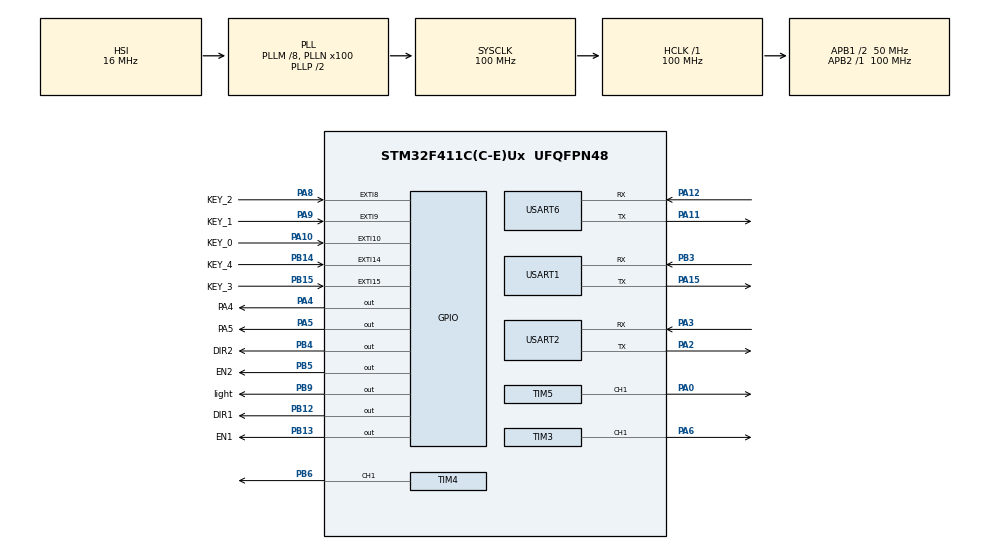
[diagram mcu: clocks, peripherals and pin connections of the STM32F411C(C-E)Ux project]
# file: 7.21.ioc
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Dma.Request0=USART2_RX
Dma.USART2_RX.0.Direction=DMA_PERIPH_TO_MEMORY
Dma.USART2_RX.0.FIFOMode=DMA_FIFOMODE_DISABLE
Dma.USART2_RX.0.Instance=DMA1_Stream5
Dma.USART2_RX.0.MemDataAlignment=DMA_MDATAALIGN_BYTE
Dma.USART2_RX.0.MemInc=DMA_MINC_ENABLE
Dma.USART2_RX.0.Mode=DMA_NORMAL
Dma.USART2_RX.0.PeriphDataAlignment=DMA_PDATAALIGN_BYTE
Dma.USART2_RX.0.PeriphInc=DMA_PINC_DISABLE
Dma.USART2_RX.0.Priority=DMA_PRIORITY_LOW
Mcu.Family=STM32F4
Mcu.Name=STM32F411C(C-E)Ux
Mcu.Package=UFQFPN48
NVIC.DMA1_Stream5_IRQn=true\:0\:0\:false\:false\:true\:false\:true\:true
NVIC.PriorityGroup=NVIC_PRIORITYGROUP_4
NVIC.TIM2_IRQn=true\:0\:0\:false\:false\:true\:true\:true\:true
NVIC.USART1_IRQn=true\:0\:0\:false\:false\:true\:true\:true\:true
NVIC.USART2_IRQn=true\:0\:0\:false\:false\:true\:true\:true\:true
NVIC.USART6_IRQn=true\:0\:0\:false\:false\:true\:true\:true\:true
PA0-WKUP.Signal=S_TIM5_CH1
PA10.GPIO_Label=KEY_0
PA10.GPIO_PuPd=GPIO_PULLDOWN
PA10.Signal=GPXTI10
PA11.Mode=Asynchronous
PA11.Signal=USART6_TX
PA12.Mode=Asynchronous
PA12.Signal=USART6_RX
PA13.Mode=Serial_Wire
PA13.Signal=SYS_JTMS-SWDIO
PA14.Mode=Serial_Wire
PA14.Signal=SYS_JTCK-SWCLK
PA15.Mode=Asynchronous
PA15.Signal=USART1_TX
PA2.Mode=Asynchronous
PA2.Signal=USART2_TX
PA3.Mode=Asynchronous
PA3.Signal=USART2_RX
PA4.GPIO_Label=PA4
PA4.Signal=GPIO_Output
PA5.GPIO_Label=PA5
PA5.Signal=GPIO_Output
PA6.Signal=S_TIM3_CH1
PA8.GPIO_Label=KEY_2
PA8.GPIO_PuPd=GPIO_PULLDOWN
PA8.Signal=GPXTI8
PA9.GPIO_Label=KEY_1
PA9.GPIO_PuPd=GPIO_PULLDOWN
PA9.Signal=GPXTI9
PB12.GPIO_Label=DIR1
PB12.GPIO_PuPd=GPIO_PULLUP
PB12.Signal=GPIO_Output
PB13.GPIO_Label=EN1
PB13.GPIO_PuPd=GPIO_PULLUP
PB13.Signal=GPIO_Output
PB14.GPIO_Label=KEY_4
PB14.GPIO_PuPd=GPIO_PULLDOWN
PB14.Signal=GPXTI14
PB15.GPIO_Label=KEY_3
PB15.GPIO_PuPd=GPIO_PULLDOWN
PB15.Signal=GPXTI15
PB3.Mode=Asynchronous
PB3.Signal=USART1_RX
PB4.GPIO_Label=DIR2
PB4.GPIO_PuPd=GPIO_PULLUP
PB4.Signal=GPIO_Output
PB5.GPIO_Label=EN2
PB5.GPIO_PuPd=GPIO_PULLUP
PB5.Signal=GPIO_Output
PB6.Signal=S_TIM4_CH1
PB9.GPIO_Label=light
PB9.GPIO_PuPd=GPIO_PULLDOWN
PB9.GPIO_Speed=GPIO_SPEED_FREQ_LOW
PB9.PinState=GPIO_PIN_RESET
PB9.Signal=GPIO_Output
PH0\ -\ OSC_IN.Mode=HSE-External-Oscillator
PH0\ -\ OSC_IN.Signal=RCC_OSC_IN
PH1\ -\ OSC_OUT.Mode=HSE-External-Oscillator
PH1\ -\ OSC_OUT.Signal=RCC_OSC_OUT
ProjectManager.HeapSize=0x200
ProjectManager.StackSize=0x400
ProjectManager.TargetToolchain=MDK-ARM V5.32
RCC.48MHZClocksFreq_Value=50000000
RCC.AHBFreq_Value=100000000
RCC.APB1CLKDivider=RCC_HCLK_DIV2
RCC.APB1Freq_Value=50000000
RCC.APB1TimFreq_Value=100000000
RCC.APB2Freq_Value=100000000
RCC.APB2TimFreq_Value=100000000
RCC.CortexFreq_Value=100000000
RCC.HCLKFreq_Value=100000000
RCC.HSE_VALUE=25000000
RCC.HSI_VALUE=16000000
RCC.LSE_VALUE=32768
RCC.PLLM=8
RCC.PLLN=100
RCC.SYSCLKFreq_VALUE=100000000
RCC.SYSCLKSource=RCC_SYSCLKSOURCE_PLLCLK
RCC.VCOOutputFreq_Value=200000000
SH.S_TIM3_CH1.0=TIM3_CH1,PWM Generation1 CH1
SH.S_TIM4_CH1.0=TIM4_CH1,PWM Generation1 CH1
SH.S_TIM5_CH1.0=TIM5_CH1,PWM Generation1 CH1
TIM2.Period=9999
TIM2.Prescaler=9
TIM3.Channel-PWM\ Generation1\ CH1=TIM_CHANNEL_1
TIM3.Period=20000-1
TIM3.Prescaler=99
TIM4.Channel-PWM\ Generation1\ CH1=TIM_CHANNEL_1
TIM4.Period=20000-1
TIM4.Prescaler=99
TIM5.Channel-PWM\ Generation1\ CH1=TIM_CHANNEL_1
TIM5.Period=20000-1
TIM5.Prescaler=99
USART1.VirtualMode=VM_ASYNC
USART2.VirtualMode=VM_ASYNC
USART6.VirtualMode=VM_ASYNC
VP_TIM2_VS_ClockSourceINT.Mode=Internal
VP_TIM3_VS_ClockSourceINT.Mode=Internal
VP_TIM4_VS_ClockSourceINT.Mode=Internal
VP_TIM5_VS_ClockSourceINT.Mode=Internal
board=custom

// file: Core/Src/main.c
/* USER CODE BEGIN Header */
/**
  ******************************************************************************
  * @file           : main.c
  * @brief          : Main program body
  ******************************************************************************
  * @attention
  *
  * Copyright (c) 2025 STMicroelectronics.
  * All rights reserved.
  *
  * This software is licensed under terms that can be found in the LICENSE file
  * in the root directory of this software component.
  * If no LICENSE file comes with this software, it is provided AS-IS.
  *
  ******************************************************************************
  */
/* USER CODE END Header */
#include "main.h"
#include "dma.h"
#include "tim.h"
#include "usart.h"
#include "gpio.h"

/* USER CODE BEGIN Includes */
#include "Stepper_Motor.h"
#include "Delay.h"
#include "yuntai.h"
#include "oled.h"
#include "Bujin.h"
#include "usart_1.h"
#include "serial_it_config.h"
extern int rx_flag;
extern uint8_t rx_buffer[RX_BUFFER_SIZE];
/* USER CODE END Includes */

/* USER CODE BEGIN PTD */
void HAL_UART_RxCpltCallback(UART_HandleTypeDef *huart)

{
    if(huart->Instance == USART1)
    {
        UART1_RxCpltCallback(huart);
    }
    else if(huart->Instance == USART2)
    {
        UART2_RxCpltCallback(huart);
				rx_flag = 1;

    }
    else if(huart->Instance == USART6)
    {
        UART3_RxCpltCallback(huart);
    }
}
void HAL_UARTEx_RxEventCallback(UART_HandleTypeDef *huart,uint16_t Size)
{
	 if (huart->Instance == USART2)  // 判断是否是USART2
    {
			OLED_Printf(0,32,OLED_8X16,"recieve:%c,%c,%c,%c,%c",rx_buffer[0],rx_buffer[1],rx_buffer[2],rx_buffer[3],rx_buffer[4]);
			HAL_UARTEx_ReceiveToIdle_DMA(&huart2,rx_buffer,sizeof(rx_buffer));
		}
}

/* USER CODE END PTD */

/* USER CODE BEGIN PV */
extern int current_x;
extern int current_y;
extern float distance;
int count=0;

/* USER CODE END PV */

void SystemClock_Config(void);

int main(void)
{

  /* USER CODE BEGIN 1 */
	extern int flag;
  /* USER CODE END 1 */

  /* MCU Configuration--------------------------------------------------------*/

  /* Reset of all peripherals, Initializes the Flash interface and the Systick. */
  HAL_Init();

  /* Configure the system clock */
  SystemClock_Config();

  /* Initialize all configured peripherals */
  MX_GPIO_Init();
  MX_DMA_Init();
  MX_TIM3_Init();
  MX_USART1_UART_Init();
  MX_USART2_UART_Init();
  MX_USART6_UART_Init();
  MX_TIM2_Init();
  MX_TIM4_Init();
  MX_TIM5_Init();
  /* USER CODE BEGIN 2 */
	OLED_Init();
	USART_IT_Config();
	Stepper_Motor_Init();
	Stepper_Control_Init();
//	HAL_GPIO_WritePin(GPIOB,light_Pin,0);
//	__HAL_UART_ENABLE_IT(&huart2, UART_IT_IDLE);
	UART2_Start_RX_DMA();
//	delay_ms(1000);
	HAL_TIM_Base_Start_IT(&htim2);

//	test();

//	Speed_bujin();
//	uint8_t usart_sent2[11];
//	StepperMotor motor3 = {
//			.address = 0x02,
//			.huart = &huart6, // 替换为你的 UART 句柄
//			.mode = ABS_ANGLE_CTRL,
//			.subdivision = 0x20, // 32 细分
//			.speed_rads_x10 = 0x000A, // 10 rad/s (0x0064 = 100)
//	};
//	BuildPositionControlFrame(&motor3, 400, CW, usart_sent2);
//	USART_SendArray(usart_sent2,sizeof(usart_sent2));
//	sanjiao();

//	delay_ms(2000);
//	BuildPositionControlFrame(&motor2, 900, CW, usart_sent2); // 100.0° 逆时针
//	USART_SendArray(usart_sent2,sizeof(usart_sent2));
//	BuildPositionControlFrame(&motor1, 900, CW, usart_sent1); // 100.0° 逆时针
//	delay_ms(10);
//	USART_SendArray(usart_sent1,sizeof(usart_sent1));

  /* USER CODE END 2 */

  /* Infinite loop */
  while (1)
  {
		OLED_Printf(0,16,OLED_8X16,"count:%d",count);
		count++;
    /* USER CODE BEGIN 3 */
		OLED_Update();
//		Stepper_Control(320,240);

//		if(flag==1)
//		{
//			for(int i=0;i<200;i++)
//			{
//				Stepper_Control(320-distance,100+i*2);
//				delay_ms(20);
//			}
//		}

//		DrawRectangle(460, 150, 220, 300, 200);
//		DrawPrecisionRectangle(200, 150, 400, 350);
//		DrawCircle(320, 240, 100, 500);

//		Stepper_Control_UntilReached(320,240);

//		Stepper_Control_UntilReached(200,100);
//		Stepper_Control_UntilReached(400,100);
//		Stepper_Control_UntilReached(400,200);
//		Stepper_Control_UntilReached(200,200);
//

//		    Motor_Move_B(0,1);	 //B是竖直
//				Motor_Move_A(0,15);  //A是水平
//
//				Motor_Move_A(0,2);
//				Motor_Move_B(0,5);

//				Motor_Move_A(0,5);
//				Motor_Move_B(0,2);
//
//				Motor_Move_B(0,2);
//				Motor_Move_A(0,5);
//
//				Motor_Move_B(0,5);
//				Motor_Move_A(0,2);

  }
  /* USER CODE END 3 */
}

void SystemClock_Config(void)
{
  RCC_OscInitTypeDef RCC_OscInitStruct = {0};
  RCC_ClkInitTypeDef RCC_ClkInitStruct = {0};

  /** Configure the main internal regulator output voltage
  */
  __HAL_RCC_PWR_CLK_ENABLE();
  __HAL_PWR_VOLTAGESCALING_CONFIG(PWR_REGULATOR_VOLTAGE_SCALE1);

  /** Initializes the RCC Oscillators according to the specified parameters
  * in the RCC_OscInitTypeDef structure.
  */
  RCC_OscInitStruct.OscillatorType = RCC_OSCILLATORTYPE_HSI;
  RCC_OscInitStruct.HSIState = RCC_HSI_ON;
  RCC_OscInitStruct.HSICalibrationValue = RCC_HSICALIBRATION_DEFAULT;
  RCC_OscInitStruct.PLL.PLLState = RCC_PLL_ON;
  RCC_OscInitStruct.PLL.PLLSource = RCC_PLLSOURCE_HSI;
  RCC_OscInitStruct.PLL.PLLM = 8;
  RCC_OscInitStruct.PLL.PLLN = 100;
  RCC_OscInitStruct.PLL.PLLP = RCC_PLLP_DIV2;
  RCC_OscInitStruct.PLL.PLLQ = 4;
  if (HAL_RCC_OscConfig(&RCC_OscInitStruct) != HAL_OK)
  {
    Error_Handler();
  }

  /** Initializes the CPU, AHB and APB buses clocks
  */
  RCC_ClkInitStruct.ClockType = RCC_CLOCKTYPE_HCLK|RCC_CLOCKTYPE_SYSCLK
                              |RCC_CLOCKTYPE_PCLK1|RCC_CLOCKTYPE_PCLK2;
  RCC_ClkInitStruct.SYSCLKSource = RCC_SYSCLKSOURCE_PLLCLK;
  RCC_ClkInitStruct.AHBCLKDivider = RCC_SYSCLK_DIV1;
  RCC_ClkInitStruct.APB1CLKDivider = RCC_HCLK_DIV2;
  RCC_ClkInitStruct.APB2CLKDivider = RCC_HCLK_DIV1;

  if (HAL_RCC_ClockConfig(&RCC_ClkInitStruct, FLASH_LATENCY_3) != HAL_OK)
  {
    Error_Handler();
  }
}

/* USER CODE BEGIN 4 */
//void HAL_TIM_PeriodElapsedCallback(TIM_HandleTypeDef *htim)
//{
//    if (htim == &htim2)  // X�ᶨʱ��
//    {
//        stepX();
//    }
//    else if (htim == &htim4)  // Y�ᶨʱ��
//    {
//        stepY();
//    }
//}
/* USER CODE END 4 */

void Error_Handler(void)
{
  __disable_irq();
  while (1)
  {
  }
}
